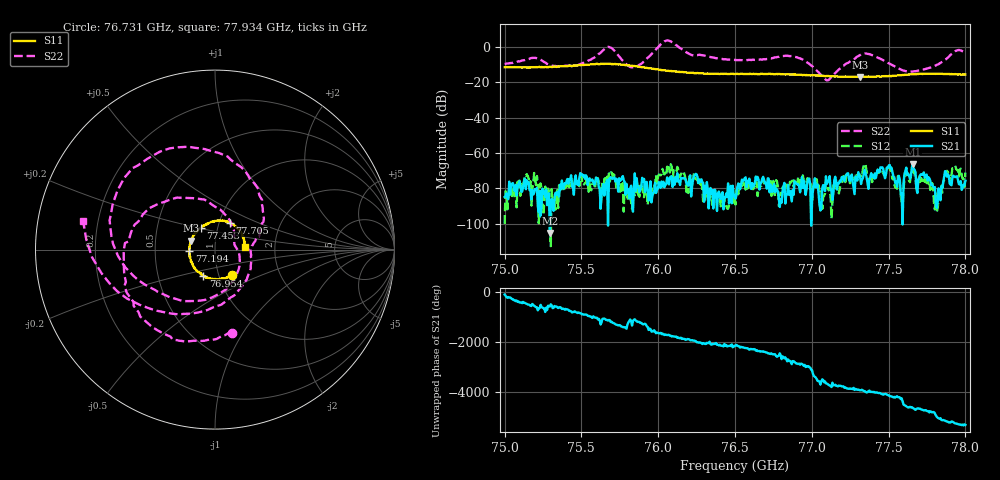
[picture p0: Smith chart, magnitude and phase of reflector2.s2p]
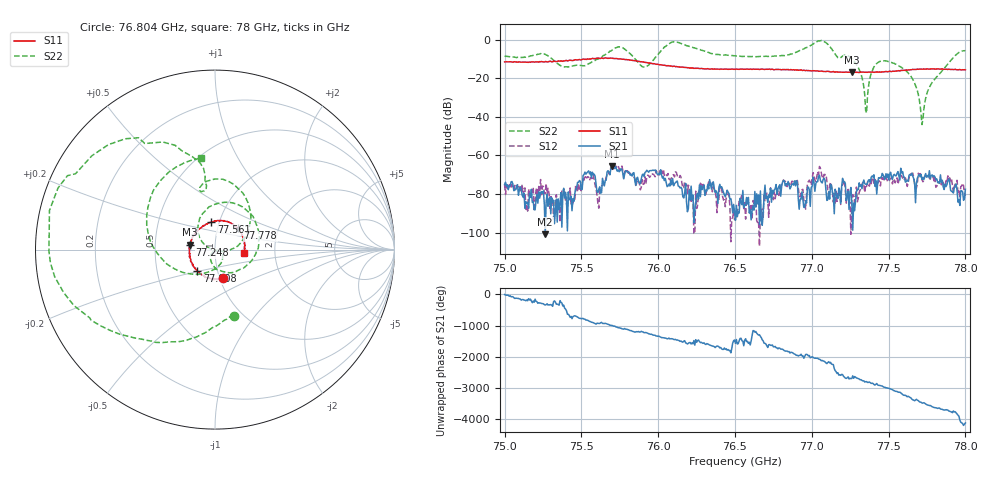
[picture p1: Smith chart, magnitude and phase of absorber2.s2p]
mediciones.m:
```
% ----------------------------
% File paths
% ----------------------------
ref_file = 'reflector2.s2p';   % Reference (e.g., metal plate)
dut_file = 'absorber2.s2p';    % DUT (absorber)

% ----------------------------
% Load S-parameter data
% ----------------------------
ref_data = sparameters(ref_file);
dut_data = sparameters(dut_file);

% Frequency vector
freq = ref_data.Frequencies;  % in Hz
assert(isequal(freq, dut_data.Frequencies), 'Frequencies must match');

% Extract S22 from both
S22_ref = rfparam(ref_data, 2, 2);  % Reference S22
S22_dut = rfparam(dut_data, 2, 2);  % DUT S22

% ----------------------------
% Convert to magnitudes
% ----------------------------
mag_ref = abs(S22_ref);
mag_dut = abs(S22_dut);

% Convert to dB
S22_ref_dB = 20 * log10(mag_ref);
S22_dut_dB = 20 * log10(mag_dut);

% ----------------------------
% Absorption (natural units)
% ----------------------------
Absorption = 1 - mag_dut.^2;

% ----------------------------
% Normalized absorption (vs reference)
% ----------------------------
reflectance_ratio = (mag_dut ./ mag_ref).^2;
Absorption_norm = 1 - reflectance_ratio;

% ----------------------------
% dB Difference (DUT - Reference)
% ----------------------------
diff_dB = S22_dut_dB - S22_ref_dB;

% ----------------------------
% Plot 1: S22 in dB
% ----------------------------
figure;
plot(freq/1e9, S22_ref_dB, 'b--', 'LineWidth', 2); hold on;
plot(freq/1e9, S22_dut_dB, 'r-', 'LineWidth', 2);
xlabel('Frequency (GHz)');
ylabel('|S_{22}| (dB)');
title('Reflection Coefficient |S_{22}| in dB');
legend('Reference (Metal Plate)', 'DUT (Absorber)', 'Location', 'SouthWest');
grid on;
ylim([-60 0]);

% ----------------------------
% Plot 2: Absorption (1 - |S22|^2)
% ----------------------------
figure;
plot(freq/1e9, Absorption, 'k', 'LineWidth', 2);
xlabel('Frequency (GHz)');
ylabel('Absorption');
title('Absorption (DUT only) = 1 - |S_{22,DUT}|^2');
grid on;
ylim([0 1.1]);

% ----------------------------
% Plot 3: Normalized Absorption (vs Ref)
% ----------------------------
figure;
plot(freq/1e9, Absorption_norm, 'g', 'LineWidth', 2);
xlabel('Frequency (GHz)');
ylabel('Normalized Absorption');
title('Normalized Absorption = 1 - (|S_{22,DUT}| / |S_{22,Ref}|)^2');
grid on;
ylim([0 1.1]);

% ----------------------------
% Plot 4: Difference in dB (DUT - Ref)
% ----------------------------
figure;
plot(freq/1e9, diff_dB, 'm', 'LineWidth', 2);
xlabel('Frequency (GHz)');
ylabel('Difference [dB]');
title('Difference in |S_{22}| (DUT - Ref) in dB');
grid on;
```
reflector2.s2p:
# Hz S MA R 50
! CMT, C4420, 21421029, 25.1.2/3
! Date: 8/4/2025 5:30:59 PM
! Data: Format (Calibration Info)
! Freq	S33:Mag/Ang(F2)	S43:Mag/Ang(F2)	S34:Mag/Ang(F2)	S44:Mag/Ang(F2)
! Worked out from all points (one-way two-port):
!   500 points, 75 GHz to 78 GHz, reference 50 ohm
!   highest |S21| = -66.24 dB at 77.657 GHz (marker M1); lowest = -105.2 dB at 75.295 GHz (marker M2)
!   lowest |S11| = -17.1 dB at 77.315 GHz (marker M3), VSWR 1.33, Z = 38.2 + j3.82 ohm
!   |S11| at or under -10 dB: start of sweep to 75.557 GHz; 75.73774 GHz to 75.74586 GHz (8.117 MHz wide, 0.0107 % of centre); 75.755 GHz to end of sweep
!   |S22| runs from -19.0 to 3.6 dB; largest |S21 - S12| = 0.00031
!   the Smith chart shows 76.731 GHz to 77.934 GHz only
!   S11 on the Smith chart (normalised r, x): 76.731 GHz: 1.15, -0.34; 76.954 GHz: 0.84, -0.25; 77.194 GHz: 0.75, -0.01; 77.453 GHz: 0.83, +0.21; 77.705 GHz: 1.13, +0.35; 77.934 GHz: 1.41, +0.05
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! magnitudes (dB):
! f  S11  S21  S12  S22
! 75 GHz  -11.6  -84.9  -100.0  -9.7
! 75.295 GHz  -11.2  -105.2  -92.8  -10.3
! 76.503 GHz  -15.4  -85.8  -89.1  -7.5
! 76.731 GHz  -15.4  -77.9  -75.0  -6.5
! 76.954 GHz  -16.0  -79.9  -78.8  -7.9
! 77.194 GHz  -16.9  -73.7  -76.4  -11.5
! 77.315 GHz  -17.1  -73.7  -72.2  -4.7
! 77.453 GHz  -16.8  -68.2  -68.8  -7.1
! 77.657 GHz  -15.5  -66.2  -70.0  -14.0
! 77.705 GHz  -15.3  -72.5  -76.3  -13.3
! 77.934 GHz  -15.4  -73.7  -67.1  -2.5
! 78 GHz  -15.7  -75.7  -71.0  -3.7
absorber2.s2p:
# Hz S MA R 50
! CMT, C4420, 21421029, 25.1.2/3
! Date: 8/4/2025 5:30:14 PM
! Data: Format (Calibration Info)
! Freq	S33:Mag/Ang(F2)	S43:Mag/Ang(F2)	S34:Mag/Ang(F2)	S44:Mag/Ang(F2)
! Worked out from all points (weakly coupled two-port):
!   500 points, 75 GHz to 78 GHz, reference 50 ohm
!   highest |S21| = -65.70 dB at 75.697 GHz (marker M1); lowest = -100.9 dB at 75.265 GHz (marker M2)
!   lowest |S11| = -17.0 dB at 77.261 GHz (marker M3), VSWR 1.33, Z = 37.8 + j2.07 ohm
!   |S11| at or under -10 dB: start of sweep to 75.563 GHz; 75.73883 GHz to 75.75066 GHz (11.83 MHz wide, 0.0156 % of centre); 75.752 GHz to end of sweep
!   |S22| runs from -44.1 to -0.5 dB; largest |S21 - S12| = 0.00028
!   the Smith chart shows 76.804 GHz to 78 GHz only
!   S11 on the Smith chart (normalised r, x): 76.804 GHz: 1.04, -0.34; 77.008 GHz: 0.80, -0.20; 77.248 GHz: 0.75, +0.04; 77.561 GHz: 0.92, +0.29; 77.778 GHz: 1.25, +0.31; 78 GHz: 1.39, -0.05
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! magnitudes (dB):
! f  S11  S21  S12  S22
! 75 GHz  -11.6  -75.0  -75.3  -8.6
! 75.265 GHz  -11.4  -100.9  -79.8  -7.7
! 75.697 GHz  -9.6  -65.7  -66.6  -5.7
! 76.503 GHz  -15.4  -93.6  -93.1  -8.5
! 76.804 GHz  -15.7  -76.1  -74.5  -8.3
! 77.008 GHz  -16.1  -71.3  -68.9  -2.3
! 77.248 GHz  -16.9  -78.9  -84.3  -9.1
! 77.261 GHz  -17.0  -84.2  -84.0  -9.9
! 77.561 GHz  -16.2  -68.4  -74.9  -13.4
! 77.778 GHz  -15.2  -70.5  -71.1  -22.9
! 78 GHz  -15.7  -77.5  -81.0  -5.8
